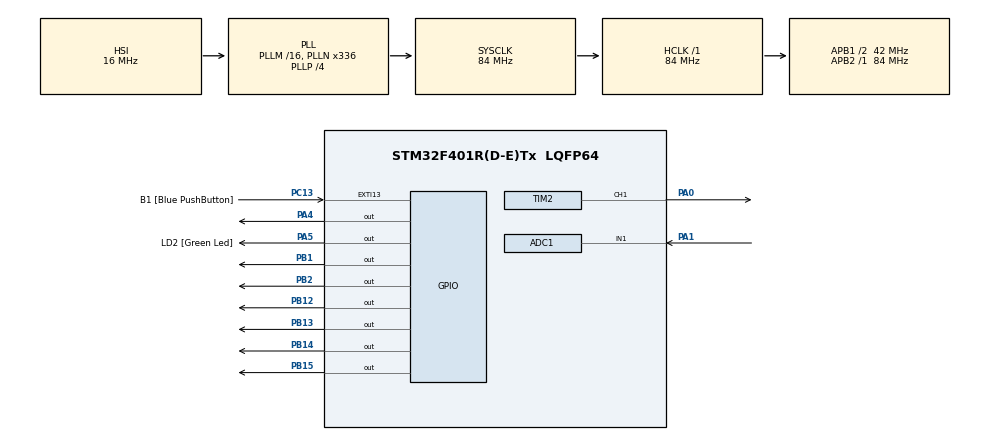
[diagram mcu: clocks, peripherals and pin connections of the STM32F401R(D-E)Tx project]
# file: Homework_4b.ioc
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ADC1.Channel-0\#ChannelRegularConversion=ADC_CHANNEL_1
ADC1.NbrOfConversion=1
ADC1.NbrOfConversionFlag=1
ADC1.Rank-0\#ChannelRegularConversion=1
ADC1.SamplingTime-0\#ChannelRegularConversion=ADC_SAMPLETIME_480CYCLES
ADC1.master=1
Mcu.Family=STM32F4
Mcu.Name=STM32F401R(D-E)Tx
Mcu.Package=LQFP64
NVIC.ADC_IRQn=true\:0\:0\:false\:false\:true\:true\:true\:true
NVIC.PriorityGroup=NVIC_PRIORITYGROUP_0
NVIC.TIM2_IRQn=true\:0\:0\:false\:false\:true\:true\:true\:true
PA0-WKUP.Signal=S_TIM2_CH1_ETR
PA1.Signal=ADCx_IN1
PA13.GPIO_Label=TMS
PA13.Mode=Serial_Wire
PA13.Signal=SYS_JTMS-SWDIO
PA14.GPIO_Label=TCK
PA14.Mode=Serial_Wire
PA14.Signal=SYS_JTCK-SWCLK
PA2.GPIO_Label=USART_TX
PA2.GPIO_Mode=GPIO_MODE_AF_PP
PA2.GPIO_PuPd=GPIO_NOPULL
PA2.GPIO_Speed=GPIO_SPEED_FREQ_LOW
PA2.Signal=USART2_TX
PA3.GPIO_Label=USART_RX
PA3.GPIO_Mode=GPIO_MODE_AF_PP
PA3.GPIO_PuPd=GPIO_NOPULL
PA3.GPIO_Speed=GPIO_SPEED_FREQ_LOW
PA3.Signal=USART2_RX
PA4.Signal=GPIO_Output
PA5.GPIO_Label=LD2 [Green Led]
PA5.GPIO_Mode=GPIO_MODE_OUTPUT_PP
PA5.GPIO_PuPd=GPIO_NOPULL
PA5.GPIO_Speed=GPIO_SPEED_FREQ_LOW
PA5.Signal=GPIO_Output
PB1.Signal=GPIO_Output
PB12.Signal=GPIO_Output
PB13.Signal=GPIO_Output
PB14.Signal=GPIO_Output
PB15.Signal=GPIO_Output
PB2.Signal=GPIO_Output
PB3.GPIO_Label=SWO
PB3.Signal=SYS_JTDO-SWO
PC13-ANTI_TAMP.GPIO_Label=B1 [Blue PushButton]
PC13-ANTI_TAMP.GPIO_ModeDefaultEXTI=GPIO_MODE_IT_FALLING
PC13-ANTI_TAMP.GPIO_PuPd=GPIO_NOPULL
PC13-ANTI_TAMP.Signal=GPXTI13
PC14-OSC32_IN.Mode=LSE-External-Oscillator
PC14-OSC32_IN.Signal=RCC_OSC32_IN
PC15-OSC32_OUT.Mode=LSE-External-Oscillator
PC15-OSC32_OUT.Signal=RCC_OSC32_OUT
PH0\ -\ OSC_IN.Mode=HSE-External-Clock-Source
PH0\ -\ OSC_IN.Signal=RCC_OSC_IN
PH1\ -\ OSC_OUT.Mode=HSE-External-Clock-Source
PH1\ -\ OSC_OUT.Signal=RCC_OSC_OUT
ProjectManager.HeapSize=0x200
ProjectManager.StackSize=0x400
ProjectManager.TargetToolchain=STM32CubeIDE
RCC.48MHZClocksFreq_Value=48000000
RCC.AHBFreq_Value=84000000
RCC.APB1CLKDivider=RCC_HCLK_DIV2
RCC.APB1Freq_Value=42000000
RCC.APB1TimFreq_Value=84000000
RCC.APB2Freq_Value=84000000
RCC.APB2TimFreq_Value=84000000
RCC.CortexFreq_Value=84000000
RCC.HCLKFreq_Value=84000000
RCC.HSE_VALUE=8000000
RCC.HSI_VALUE=16000000
RCC.PLLN=336
RCC.PLLP=RCC_PLLP_DIV4
RCC.PLLQ=7
RCC.SYSCLKFreq_VALUE=84000000
RCC.SYSCLKSource=RCC_SYSCLKSOURCE_PLLCLK
RCC.VCOOutputFreq_Value=336000000
SH.ADCx_IN1.0=ADC1_IN1,IN1
SH.S_TIM2_CH1_ETR.0=TIM2_CH1,Output Compare1 CH1
TIM2.Channel-Output\ Compare1\ CH1=TIM_CHANNEL_1
TIM2.Period=2000-1
TIM2.Prescaler=8400-1
VP_TIM2_VS_ClockSourceINT.Mode=Internal
board=NUCLEO-F401RE

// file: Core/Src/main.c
/* USER CODE BEGIN Header */
/**
  ******************************************************************************
  * @file           : main.c
  * @brief          : Main program body
  ******************************************************************************
  * @attention
  *
  * Copyright (c) 2023 STMicroelectronics.
  * All rights reserved.
  *
  * This software is licensed under terms that can be found in the LICENSE file
  * in the root directory of this software component.
  * If no LICENSE file comes with this software, it is provided AS-IS.
  *
  ******************************************************************************
  */
/* USER CODE END Header */
#include "main.h"

/* USER CODE BEGIN Includes */
#include "PMDB16_LCD.h"
/* USER CODE END Includes */

ADC_HandleTypeDef hadc1;

TIM_HandleTypeDef htim2;

void SystemClock_Config(void);
static void MX_GPIO_Init(void);
static void MX_ADC1_Init(void);
static void MX_TIM2_Init(void);

/* USER CODE BEGIN 0 */
uint32_t ADC_value;
float voltage;
int length;
char string_LCD[16];

void HAL_TIM_PeriodElapsedCallback(TIM_HandleTypeDef *htim) {
	if (htim == &htim2) {
		lcd_println(string_LCD, 0);
		lcd_drawBar(voltage / 3.3 * 80);
		HAL_ADC_Start_IT(&hadc1);
	}
}

void HAL_ADC_ConvCpltCallback(ADC_HandleTypeDef *hadc) {
	if (hadc == &hadc1){
		ADC_value = HAL_ADC_GetValue(&hadc1);
		voltage = ADC_value * 3.3 / 4095.0;
		length = snprintf(string_LCD, sizeof(string_LCD), "Voltage = %3f V\r\n", voltage);
	}
}
/* USER CODE END 0 */

int main(void)
{

  /* MCU Configuration--------------------------------------------------------*/

  /* Reset of all peripherals, Initializes the Flash interface and the Systick. */
  HAL_Init();

  /* Configure the system clock */
  SystemClock_Config();

  /* Initialize all configured peripherals */
  MX_GPIO_Init();
  MX_ADC1_Init();
  MX_TIM2_Init();
  /* USER CODE BEGIN 2 */
  __HAL_TIM_CLEAR_FLAG(&htim2, TIM_FLAG_UPDATE);
  HAL_TIM_Base_Start_IT(&htim2);
  HAL_ADC_Start_IT(&hadc1);

  lcd_initialize();
  lcd_backlight_ON();

  /* USER CODE END 2 */

  /* Infinite loop */
  while (1)
  {

  }
}

void SystemClock_Config(void)
{
  RCC_OscInitTypeDef RCC_OscInitStruct = {0};
  RCC_ClkInitTypeDef RCC_ClkInitStruct = {0};

  /** Configure the main internal regulator output voltage
  */
  __HAL_RCC_PWR_CLK_ENABLE();
  __HAL_PWR_VOLTAGESCALING_CONFIG(PWR_REGULATOR_VOLTAGE_SCALE2);

  /** Initializes the RCC Oscillators according to the specified parameters
  * in the RCC_OscInitTypeDef structure.
  */
  RCC_OscInitStruct.OscillatorType = RCC_OSCILLATORTYPE_HSI;
  RCC_OscInitStruct.HSIState = RCC_HSI_ON;
  RCC_OscInitStruct.HSICalibrationValue = RCC_HSICALIBRATION_DEFAULT;
  RCC_OscInitStruct.PLL.PLLState = RCC_PLL_ON;
  RCC_OscInitStruct.PLL.PLLSource = RCC_PLLSOURCE_HSI;
  RCC_OscInitStruct.PLL.PLLM = 16;
  RCC_OscInitStruct.PLL.PLLN = 336;
  RCC_OscInitStruct.PLL.PLLP = RCC_PLLP_DIV4;
  RCC_OscInitStruct.PLL.PLLQ = 7;
  if (HAL_RCC_OscConfig(&RCC_OscInitStruct) != HAL_OK)
  {
    Error_Handler();
  }

  /** Initializes the CPU, AHB and APB buses clocks
  */
  RCC_ClkInitStruct.ClockType = RCC_CLOCKTYPE_HCLK|RCC_CLOCKTYPE_SYSCLK
                              |RCC_CLOCKTYPE_PCLK1|RCC_CLOCKTYPE_PCLK2;
  RCC_ClkInitStruct.SYSCLKSource = RCC_SYSCLKSOURCE_PLLCLK;
  RCC_ClkInitStruct.AHBCLKDivider = RCC_SYSCLK_DIV1;
  RCC_ClkInitStruct.APB1CLKDivider = RCC_HCLK_DIV2;
  RCC_ClkInitStruct.APB2CLKDivider = RCC_HCLK_DIV1;

  if (HAL_RCC_ClockConfig(&RCC_ClkInitStruct, FLASH_LATENCY_2) != HAL_OK)
  {
    Error_Handler();
  }
}

static void MX_ADC1_Init(void)
{

  ADC_ChannelConfTypeDef sConfig = {0};

  /** Configure the global features of the ADC (Clock, Resolution, Data Alignment and number of conversion)
  */
  hadc1.Instance = ADC1;
  hadc1.Init.ClockPrescaler = ADC_CLOCK_SYNC_PCLK_DIV4;
  hadc1.Init.Resolution = ADC_RESOLUTION_12B;
  hadc1.Init.ScanConvMode = DISABLE;
  hadc1.Init.ContinuousConvMode = DISABLE;
  hadc1.Init.DiscontinuousConvMode = DISABLE;
  hadc1.Init.ExternalTrigConvEdge = ADC_EXTERNALTRIGCONVEDGE_NONE;
  hadc1.Init.ExternalTrigConv = ADC_SOFTWARE_START;
  hadc1.Init.DataAlign = ADC_DATAALIGN_RIGHT;
  hadc1.Init.NbrOfConversion = 1;
  hadc1.Init.DMAContinuousRequests = DISABLE;
  hadc1.Init.EOCSelection = ADC_EOC_SINGLE_CONV;
  if (HAL_ADC_Init(&hadc1) != HAL_OK)
  {
    Error_Handler();
  }

  /** Configure for the selected ADC regular channel its corresponding rank in the sequencer and its sample time.
  */
  sConfig.Channel = ADC_CHANNEL_1;
  sConfig.Rank = 1;
  sConfig.SamplingTime = ADC_SAMPLETIME_480CYCLES;
  if (HAL_ADC_ConfigChannel(&hadc1, &sConfig) != HAL_OK)
  {
    Error_Handler();
  }

}

static void MX_TIM2_Init(void)
{

  TIM_ClockConfigTypeDef sClockSourceConfig = {0};
  TIM_MasterConfigTypeDef sMasterConfig = {0};
  TIM_OC_InitTypeDef sConfigOC = {0};

  htim2.Instance = TIM2;
  htim2.Init.Prescaler = 8400-1;
  htim2.Init.CounterMode = TIM_COUNTERMODE_UP;
  htim2.Init.Period = 2000-1;
  htim2.Init.ClockDivision = TIM_CLOCKDIVISION_DIV1;
  htim2.Init.AutoReloadPreload = TIM_AUTORELOAD_PRELOAD_DISABLE;
  if (HAL_TIM_Base_Init(&htim2) != HAL_OK)
  {
    Error_Handler();
  }
  sClockSourceConfig.ClockSource = TIM_CLOCKSOURCE_INTERNAL;
  if (HAL_TIM_ConfigClockSource(&htim2, &sClockSourceConfig) != HAL_OK)
  {
    Error_Handler();
  }
  if (HAL_TIM_OC_Init(&htim2) != HAL_OK)
  {
    Error_Handler();
  }
  sMasterConfig.MasterOutputTrigger = TIM_TRGO_RESET;
  sMasterConfig.MasterSlaveMode = TIM_MASTERSLAVEMODE_DISABLE;
  if (HAL_TIMEx_MasterConfigSynchronization(&htim2, &sMasterConfig) != HAL_OK)
  {
    Error_Handler();
  }
  sConfigOC.OCMode = TIM_OCMODE_TIMING;
  sConfigOC.Pulse = 0;
  sConfigOC.OCPolarity = TIM_OCPOLARITY_HIGH;
  sConfigOC.OCFastMode = TIM_OCFAST_DISABLE;
  if (HAL_TIM_OC_ConfigChannel(&htim2, &sConfigOC, TIM_CHANNEL_1) != HAL_OK)
  {
    Error_Handler();
  }
  HAL_TIM_MspPostInit(&htim2);

}

static void MX_GPIO_Init(void)
{
  GPIO_InitTypeDef GPIO_InitStruct = {0};

  /* GPIO Ports Clock Enable */
  __HAL_RCC_GPIOC_CLK_ENABLE();
  __HAL_RCC_GPIOH_CLK_ENABLE();
  __HAL_RCC_GPIOA_CLK_ENABLE();
  __HAL_RCC_GPIOB_CLK_ENABLE();

  /*Configure GPIO pin Output Level */
  HAL_GPIO_WritePin(GPIOA, GPIO_PIN_4|LD2_Pin, GPIO_PIN_RESET);

  /*Configure GPIO pin Output Level */
  HAL_GPIO_WritePin(GPIOB, GPIO_PIN_1|GPIO_PIN_2|GPIO_PIN_12|GPIO_PIN_13
                          |GPIO_PIN_14|GPIO_PIN_15, GPIO_PIN_RESET);

  /*Configure GPIO pin : B1_Pin */
  GPIO_InitStruct.Pin = B1_Pin;
  GPIO_InitStruct.Mode = GPIO_MODE_IT_FALLING;
  GPIO_InitStruct.Pull = GPIO_NOPULL;
  HAL_GPIO_Init(B1_GPIO_Port, &GPIO_InitStruct);

  /*Configure GPIO pins : USART_TX_Pin USART_RX_Pin */
  GPIO_InitStruct.Pin = USART_TX_Pin|USART_RX_Pin;
  GPIO_InitStruct.Mode = GPIO_MODE_AF_PP;
  GPIO_InitStruct.Pull = GPIO_NOPULL;
  GPIO_InitStruct.Speed = GPIO_SPEED_FREQ_LOW;
  GPIO_InitStruct.Alternate = GPIO_AF7_USART2;
  HAL_GPIO_Init(GPIOA, &GPIO_InitStruct);

  /*Configure GPIO pins : PA4 LD2_Pin */
  GPIO_InitStruct.Pin = GPIO_PIN_4|LD2_Pin;
  GPIO_InitStruct.Mode = GPIO_MODE_OUTPUT_PP;
  GPIO_InitStruct.Pull = GPIO_NOPULL;
  GPIO_InitStruct.Speed = GPIO_SPEED_FREQ_LOW;
  HAL_GPIO_Init(GPIOA, &GPIO_InitStruct);

  /*Configure GPIO pins : PB1 PB2 PB12 PB13
                           PB14 PB15 */
  GPIO_InitStruct.Pin = GPIO_PIN_1|GPIO_PIN_2|GPIO_PIN_12|GPIO_PIN_13
                          |GPIO_PIN_14|GPIO_PIN_15;
  GPIO_InitStruct.Mode = GPIO_MODE_OUTPUT_PP;
  GPIO_InitStruct.Pull = GPIO_NOPULL;
  GPIO_InitStruct.Speed = GPIO_SPEED_FREQ_LOW;
  HAL_GPIO_Init(GPIOB, &GPIO_InitStruct);

}

void Error_Handler(void)
{
  __disable_irq();
  while (1)
  {
  }
}
